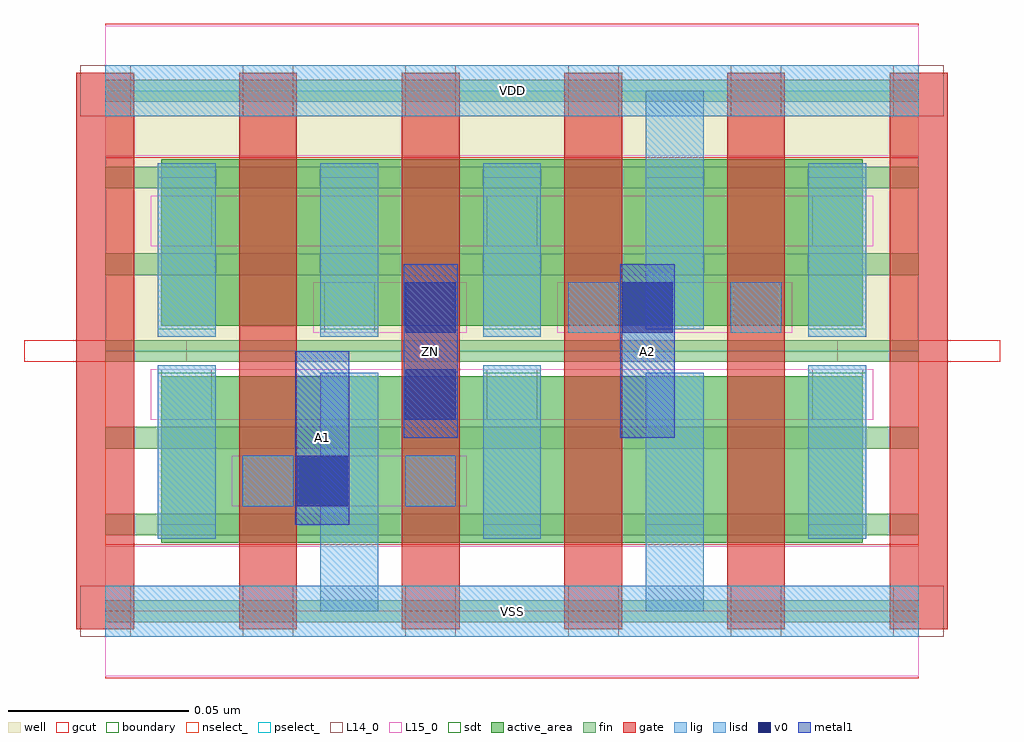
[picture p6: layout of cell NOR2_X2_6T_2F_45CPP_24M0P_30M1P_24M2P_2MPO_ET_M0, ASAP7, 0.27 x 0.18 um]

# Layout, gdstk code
import gdstk
lib = gdstk.Library(unit=1e-6, precision=2.5e-10)
def R(c, l, rs):  # rectangles x0, y0, x1, y1
    for r in rs: c.add(gdstk.rectangle(r[:2], r[2:], *l))
def A(c, l, x, y, w, h, nx, ny, dx, dy):  # array of equal rectangles
    R(c, l, [(x+i*dx, y+j*dy, x+i*dx+w, y+j*dy+h) for i in range(nx) for j in range(ny)])
well = (1, 0)
fin = (2, 0)
gate = (7, 0)
gcut = (10, 0)
active_area = (11, 0)
nselect_ = (12, 0)
pselect_ = (13, 0)
L14_0 = (14, 0)
L15_0 = (15, 0)
lig = (16, 0)
lisd = (17, 0)
v0 = (18, 0)
metal1 = (19, 0)
sdt = (88, 0)
boundary = (100, 0)

nor2_x2_6t_2f_45cpp_24m0 = lib.new_cell('NOR2_X2_6T_2F_45CPP_24M0P_30M1P_24M2P_2MPO_ET_M0')
R(nor2_x2_6t_2f_45cpp_24m0, well, [(0,0.072,0.225,0.144)])
A(nor2_x2_6t_2f_45cpp_24m0, fin, 0, -0.003, 0.225, 0.006, 1, 7, 0, 0.024)
A(nor2_x2_6t_2f_45cpp_24m0, gate, -0.008, -0.005, 0.016, 0.154, 6, 1, 0.045, 0)
R(nor2_x2_6t_2f_45cpp_24m0, gcut, [(0,-0.0185,0.225,0.0185), (-0.0225,0.069,0.0225,0.075), (0.2025,0.069,0.2475,0.075), (0,0.1255,0.225,0.1625)])
R(nor2_x2_6t_2f_45cpp_24m0, active_area, [(0.0155,0.019,0.1195,0.065), (0.1055,0.019,0.2095,0.065), (0.0155,0.079,0.1195,0.125), (0.1055,0.079,0.2095,0.125)])
R(nor2_x2_6t_2f_45cpp_24m0, nselect_, [(0,0,0.225,0.072)])
R(nor2_x2_6t_2f_45cpp_24m0, pselect_, [(0,0.072,0.225,0.144)])
A(nor2_x2_6t_2f_45cpp_24m0, L14_0, -0.007, -0.007, 0.014, 0.014, 6, 2, 0.045, 0.144)
A(nor2_x2_6t_2f_45cpp_24m0, L14_0, 0.0155, 0.053, 0.014, 0.014, 3, 2, 0.09, 0.048)
R(nor2_x2_6t_2f_45cpp_24m0, L14_0, [(0.038,0.029,0.052,0.043), (0.083,0.029,0.097,0.043), (0.0605,0.077,0.0745,0.091), (0.128,0.077,0.142,0.091), (0.173,0.077,0.187,0.091)])
R(nor2_x2_6t_2f_45cpp_24m0, L15_0, [(0,-0.018,0.225,0.018), (0.035,0.029,0.1,0.043), (0.0125,0.053,0.2125,0.067), (0.0575,0.077,0.1,0.091), (0.125,0.077,0.19,0.091), (0.0125,0.101,0.2125,0.115), (0,0.126,0.225,0.162)])
R(nor2_x2_6t_2f_45cpp_24m0, lig, [(0,-0.007,0.225,0.007), (0.038,0.029,0.052,0.043), (0.083,0.029,0.097,0.043), (0.128,0.077,0.142,0.091), (0.173,0.077,0.187,0.091), (0,0.137,0.225,0.151)])
A(nor2_x2_6t_2f_45cpp_24m0, lisd, 0.0145, 0.02, 0.016, 0.048, 3, 1, 0.09, 0)
A(nor2_x2_6t_2f_45cpp_24m0, lisd, 0.0145, 0.076, 0.016, 0.048, 3, 1, 0.045, 0)
R(nor2_x2_6t_2f_45cpp_24m0, lisd, [(0.0595,0,0.0755,0.066), (0.1495,0,0.1655,0.066), (0.1945,0.076,0.2105,0.124), (0.1495,0.078,0.1655,0.144)])
R(nor2_x2_6t_2f_45cpp_24m0, v0, [(0.053,0.029,0.067,0.043), (0.083,0.053,0.097,0.067), (0.083,0.077,0.097,0.091), (0.143,0.077,0.157,0.091)])
R(nor2_x2_6t_2f_45cpp_24m0, metal1, [(0.0525,0.024,0.0675,0.072), (0.0825,0.048,0.0975,0.096), (0.1425,0.048,0.1575,0.096)])
A(nor2_x2_6t_2f_45cpp_24m0, sdt, 0.0145, 0.024, 0.016, 0.042, 5, 2, 0.045, 0.054)
R(nor2_x2_6t_2f_45cpp_24m0, boundary, [(0,0,0.225,0.144)])
nor2_x2_6t_2f_45cpp_24m0.add(gdstk.Label('A2', (0.15,0.072), layer=19, texttype=251))
nor2_x2_6t_2f_45cpp_24m0.add(gdstk.Label('A1', (0.06,0.048), layer=19, texttype=251))
nor2_x2_6t_2f_45cpp_24m0.add(gdstk.Label('ZN', (0.09,0.072), layer=19, texttype=251))
nor2_x2_6t_2f_45cpp_24m0.add(gdstk.Label('VDD', (0.1125,0.144), layer=15, texttype=251))
nor2_x2_6t_2f_45cpp_24m0.add(gdstk.Label('VSS', (0.1125,0), layer=15, texttype=251))
nor2_x2_6t_2f_45cpp_24m0.add(gdstk.Label('VDD', (0.1125,0.144), layer=1, texttype=251))
nor2_x2_6t_2f_45cpp_24m0.add(gdstk.Label('VSS', (0.1125,0), layer=3, texttype=251))

lib.write_gds('NOR2_X2_6T_2F_45CPP_24M0P_30M1P_24M2P_2MPO_ET_M0.gds')
